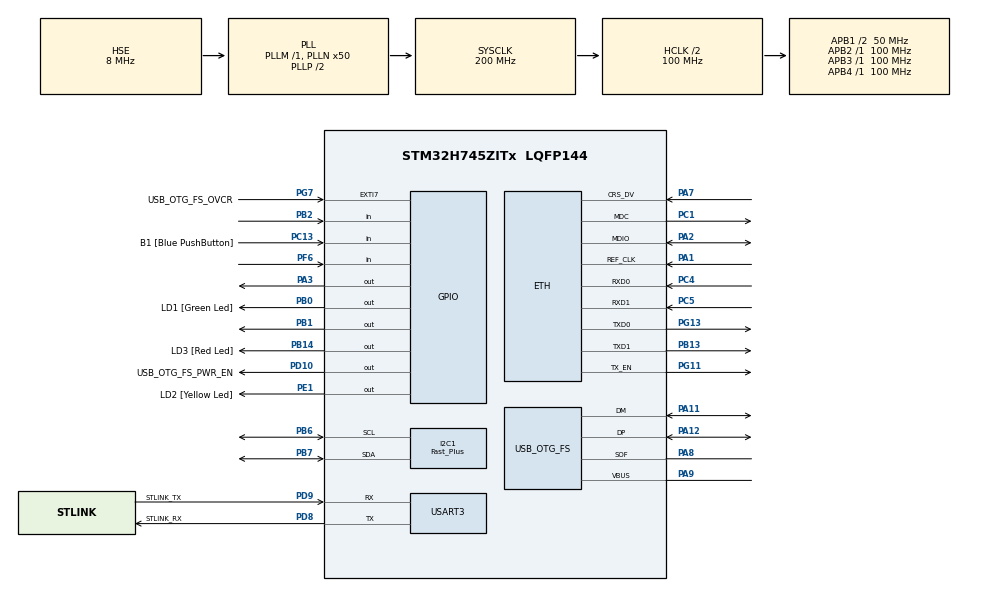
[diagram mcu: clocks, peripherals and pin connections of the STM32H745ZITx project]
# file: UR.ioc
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CortexM4.IPs=FATFS_M4\:I,FREERTOS_M4\:I,IWDG2\:I,RCC,WWDG2\:I,DMA,BDMA,MDMA,NVIC2\:I,USART3,ETH,DEBUG,USB_DEVICE_M4\:I,USB_HOST_M4\:I,PDM2PCM_M4\:I,PWR,RESMGR_UTILITY,SYS_M4\:I,CORTEX_M4\:I,OPENAMP_M4\:I,VREFBUF,GPIO
CortexM7.IPs=FATFS_M7\:I,FREERTOS_M7\:I,IWDG1\:I,RCC\:I,WWDG1\:I,DMA\:I,BDMA\:I,MDMA\:I,NVIC1\:I,SYS\:I,USART3\:I,USB_OTG_FS\:I,ETH\:I,CORTEX_M7\:I,DEBUG\:I,USB_DEVICE_M7\:I,USB_HOST_M7\:I,PDM2PCM_M7\:I,PWR\:I,RESMGR_UTILITY\:I,OPENAMP_M7\:I,VREFBUF\:I,GPIO\:I,I2C1\:I
ETH.MediaInterface=HAL_ETH_RMII_MODE
I2C1.I2C_Speed_Mode=I2C_Fast_Plus
I2C1.Timing=0x0020081F
Mcu.Family=STM32H7
Mcu.Name=STM32H745ZITx
Mcu.Package=LQFP144
NVIC1.I2C1_EV_IRQn=true\:0\:0\:false\:false\:true\:true\:true\:true
NVIC1.PriorityGroup=NVIC_PRIORITYGROUP_4
NVIC2.PriorityGroup=NVIC_PRIORITYGROUP_4
PA1.Mode=RMII
PA1.PinAttribute=CortexM7
PA1.Signal=ETH_REF_CLK
PA11.Mode=Device_Only
PA11.PinAttribute=CortexM7
PA11.Signal=USB_OTG_FS_DM
PA12.Mode=Device_Only
PA12.PinAttribute=CortexM7
PA12.Signal=USB_OTG_FS_DP
PA2.Mode=RMII
PA2.PinAttribute=CortexM7
PA2.Signal=ETH_MDIO
PA3.PinAttribute=Free
PA3.Signal=GPIO_Output
PA7.Mode=RMII
PA7.PinAttribute=CortexM7
PA7.Signal=ETH_CRS_DV
PA8.Mode=Activate_SOF_FS
PA8.PinAttribute=CortexM7
PA8.Signal=USB_OTG_FS_SOF
PA9.Mode=Activate_VBUS
PA9.PinAttribute=CortexM7
PA9.Signal=USB_OTG_FS_VBUS
PB0.GPIO_Label=LD1 [Green Led]
PB0.PinAttribute=Free
PB0.Signal=GPIO_Output
PB1.PinAttribute=Free
PB1.Signal=GPIO_Output
PB13.Mode=RMII
PB13.PinAttribute=CortexM7
PB13.Signal=ETH_TXD1
PB14.GPIO_Label=LD3 [Red Led]
PB14.PinAttribute=Free
PB14.Signal=GPIO_Output
PB2.PinAttribute=Free
PB2.Signal=GPIO_Input
PB6.Mode=I2C
PB6.PinAttribute=CortexM7
PB6.Signal=I2C1_SCL
PB7.Mode=I2C
PB7.PinAttribute=CortexM7
PB7.Signal=I2C1_SDA
PC1.Mode=RMII
PC1.PinAttribute=CortexM7
PC1.Signal=ETH_MDC
PC13.GPIO_Label=B1 [Blue PushButton]
PC13.PinAttribute=Free
PC13.Signal=GPIO_Input
PC14-OSC32_IN\ (OSC32_IN).Mode=LSE-External-Oscillator
PC14-OSC32_IN\ (OSC32_IN).PinAttribute=CortexM7
PC14-OSC32_IN\ (OSC32_IN).Signal=RCC_OSC32_IN
PC15-OSC32_OUT\ (OSC32_OUT).Mode=LSE-External-Oscillator
PC15-OSC32_OUT\ (OSC32_OUT).PinAttribute=CortexM7
PC15-OSC32_OUT\ (OSC32_OUT).Signal=RCC_OSC32_OUT
PC4.Mode=RMII
PC4.PinAttribute=CortexM7
PC4.Signal=ETH_RXD0
PC5.Mode=RMII
PC5.PinAttribute=CortexM7
PC5.Signal=ETH_RXD1
PD10.GPIO_Label=USB_OTG_FS_PWR_EN
PD10.PinAttribute=Free
PD10.Signal=GPIO_Output
PD8.GPIO_Label=STLINK_RX
PD8.Mode=Asynchronous
PD8.PinAttribute=CortexM7
PD8.Signal=USART3_TX
PD9.GPIO_Label=STLINK_TX
PD9.Mode=Asynchronous
PD9.PinAttribute=CortexM7
PD9.Signal=USART3_RX
PE1.GPIO_Label=LD2 [Yellow Led]
PE1.PinAttribute=Free
PE1.Signal=GPIO_Output
PF6.PinAttribute=Free
PF6.Signal=GPIO_Input
PG11.Mode=RMII
PG11.PinAttribute=CortexM7
PG11.Signal=ETH_TX_EN
PG13.Mode=RMII
PG13.PinAttribute=CortexM7
PG13.Signal=ETH_TXD0
PG7.GPIO_Label=USB_OTG_FS_OVCR
PG7.PinAttribute=Free
PG7.Signal=GPXTI7
PH0-OSC_IN\ (PH0).Mode=HSE-External-Clock-Source
PH0-OSC_IN\ (PH0).PinAttribute=CortexM7
PH0-OSC_IN\ (PH0).Signal=RCC_OSC_IN
PH1-OSC_OUT\ (PH1).PinAttribute=CortexM7
PH1-OSC_OUT\ (PH1).Signal=RCC_OSC_OUT
ProjectManager.HeapSize=M4-0x200,M7-0x200
ProjectManager.StackSize=M4-0x400,M7-0x400
ProjectManager.TargetToolchain=STM32CubeIDE
RCC.ADCFreq_Value=16125000
RCC.APB1Freq_Value=50000000
RCC.APB2Freq_Value=100000000
RCC.APB3Freq_Value=100000000
RCC.APB4Freq_Value=100000000
RCC.CortexFreq_Value=200000000
RCC.D2PPRE1=RCC_APB1_DIV2
RCC.DIVM1=1
RCC.DIVM3=1
RCC.DIVN1=50
RCC.DIVN3=18
RCC.DIVQ3=3
RCC.HCLKFreq_Value=100000000
RCC.HPRE=RCC_HCLK_DIV2
RCC.HSE_VALUE=8000000
RCC.PLL2FRACN=0
RCC.PLL3FRACN=6144
RCC.PLLFRACN=0
RCC.SYSCLKFreq_VALUE=200000000
RCC.SYSCLKSource=RCC_SYSCLKSOURCE_PLLCLK
RCC.SupplySource=PWR_DIRECT_SMPS_SUPPLY
RCC.USBCLockSelection=RCC_USBCLKSOURCE_PLL3
RCC.USBFreq_Value=50000000
USART3.VirtualMode-Asynchronous=VM_ASYNC
USB_OTG_FS.VirtualMode=Device_Only
VP_SYS_M4_VS_Systick.Mode=SysTick
board=NUCLEO-H745ZI-Q

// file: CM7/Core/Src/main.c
/* USER CODE BEGIN Header */
/**
  ******************************************************************************
  * @file           : main.c
  * @brief          : Main program body
  ******************************************************************************
  * @attention
  *
  * Copyright (c) 2023 STMicroelectronics.
  * All rights reserved.
  *
  * This software is licensed under terms that can be found in the LICENSE file
  * in the root directory of this software component.
  * If no LICENSE file comes with this software, it is provided AS-IS.
  *
  ******************************************************************************
  */
/* USER CODE END Header */
#include "main.h"
#include "string.h"

/* USER CODE BEGIN Includes */
#include <stdint.h>
#include <stdio.h>
/* USER CODE END Includes */

/* USER CODE BEGIN PD */

#ifndef HSEM_ID_0
#define HSEM_ID_0 (0U) /* HW semaphore 0*/
#endif

/* USER CODE END PD */

#if defined ( __ICCARM__ ) /*!< IAR Compiler */
#pragma location=0x30000000
ETH_DMADescTypeDef  DMARxDscrTab[ETH_RX_DESC_CNT]; /* Ethernet Rx DMA Descriptors */
#pragma location=0x30000200
ETH_DMADescTypeDef  DMATxDscrTab[ETH_TX_DESC_CNT]; /* Ethernet Tx DMA Descriptors */

#elif defined ( __CC_ARM )  /* MDK ARM Compiler */

__attribute__((at(0x30000000))) ETH_DMADescTypeDef  DMARxDscrTab[ETH_RX_DESC_CNT]; /* Ethernet Rx DMA Descriptors */
__attribute__((at(0x30000200))) ETH_DMADescTypeDef  DMATxDscrTab[ETH_TX_DESC_CNT]; /* Ethernet Tx DMA Descriptors */

#elif defined ( __GNUC__ ) /* GNU Compiler */
ETH_DMADescTypeDef DMARxDscrTab[ETH_RX_DESC_CNT] __attribute__((section(".RxDecripSection"))); /* Ethernet Rx DMA Descriptors */
ETH_DMADescTypeDef DMATxDscrTab[ETH_TX_DESC_CNT] __attribute__((section(".TxDecripSection")));   /* Ethernet Tx DMA Descriptors */

#endif

ETH_TxPacketConfig TxConfig;

ETH_HandleTypeDef heth;

I2C_HandleTypeDef hi2c1;

UART_HandleTypeDef huart3;

PCD_HandleTypeDef hpcd_USB_OTG_FS;

void SystemClock_Config(void);
static void MX_GPIO_Init(void);
static void MX_ETH_Init(void);
static void MX_USART3_UART_Init(void);
static void MX_USB_OTG_FS_PCD_Init(void);
static void MX_I2C1_Init(void);

/* USER CODE BEGIN 0 */
typedef struct {
    uint8_t preamble[7]; // Preamble bytes
    uint8_t sfd;
    uint8_t destMac[6];
    uint8_t srcMac[6];
    uint16_t etherType;
    uint8_t payload[2]; // Maximum payload size
    uint32_t crc;          // CRC (Cyclic Redundancy Check)
} EthernetFrame;

uint8_t dataToRecieve[sizeof(EthernetFrame)];

uint8_t bitPosition = 0;    // Bit position tracker
uint8_t bytePosition = 0;
GPIO_PinState rBit;
GPIO_PinState valid_frame = GPIO_PIN_RESET;
uint8_t first = 0;
uint8_t rflag = 0;
uint8_t lcd_row = 0;
uint8_t lcd_col = 0;

void HAL_GPIO_EXTI_Callback(uint16_t GPIO_Pin) {
    if (GPIO_Pin == GPIO_PIN_6 && valid_frame == GPIO_PIN_SET) { // Pin PF6 (change to the actual pin)
    	first++;
    	if(first > 3)
    	{
    		rflag = 1;
    	}
    	if(rflag){
        // Perform your desired action here upon the rising edge of the clock signal
        // For example, toggle or set/clear the state of another GPIO pin
    	rBit = HAL_GPIO_ReadPin(GPIOB, GPIO_PIN_2);
//    	lcd_put_cur(lcd_row, lcd_col);
//    	lcd_col++;
//    	if(lcd_col == 16){
//    		lcd_row = (lcd_row + 1)%2;
//    		if(lcd_row == 0)
//    			lcd_clear();
//    		lcd_col = 0;
//    	}
//    	if(rBit == GPIO_PIN_SET){
//        	lcd_send_string("1");
//    	}
//    	else
//    		lcd_send_string("0");
   	 dataToRecieve[bytePosition] |= rBit << (bitPosition);
    	 // Toggle the clock pin to generate a clock pulse
    	 // Move to the next bit position
    	 bitPosition++;
    	 if (bitPosition >= 8) {
    		 bitPosition = 0;  // Reset the bit position for the next transmission
    		 bytePosition++;
//    		 lcd_clear();
//    		 lcd_put_cur(0, 0);
//    		 char positionString[12]; // Adjust the size based on your needs
//    		 snprintf(positionString, sizeof(positionString), "byte #%u", bytePosition);
//    		 lcd_send_string(positionString);
//    		 lcd_put_cur(1, 0);
//    		 char byteString[8]; // Assuming the byte value can be represented in 3 characters (+ null terminator)
//    		    snprintf(byteString, sizeof(byteString) + 1, "%c%c%c%c%c%c%c%c",
//    		             (dataToRecieve[bytePosition-1] & 0x80) ? '1' : '0',
//    		             (dataToRecieve[bytePosition-1] & 0x40) ? '1' : '0',
//    		             (dataToRecieve[bytePosition-1] & 0x20) ? '1' : '0',
//    		             (dataToRecieve[bytePosition-1] & 0x10) ? '1' : '0',
//    		             (dataToRecieve[bytePosition-1] & 0x08) ? '1' : '0',
//    		             (dataToRecieve[bytePosition-1] & 0x04) ? '1' : '0',
//    		             (dataToRecieve[bytePosition-1] & 0x02) ? '1' : '0',
//    		             (dataToRecieve[bytePosition-1] & 0x01) ? '1' : '0');    		 lcd_send_string(byteString);

    	 }
    	 if(bytePosition == sizeof(EthernetFrame))
    	 {
    		    for(uint8_t count = 0; count < sizeof(EthernetFrame); count++)
    		    {
    	    		 lcd_clear();
    	    		 lcd_put_cur(0, 0);
    	    		 char positionString[9]; // Adjust the size based on your needs
    	    		 snprintf(positionString, sizeof(positionString), "byte #%u", count);
    	    		 lcd_send_string(positionString);
    	    		 lcd_put_cur(1, 0);
    	    		 char byteString[8]; // Assuming the byte value can be represented in 3 characters (+ null terminator)
    	    		    snprintf(byteString, sizeof(byteString) + 1, "%c%c%c%c%c%c%c%c",
    	    		             (dataToRecieve[count] & 0x80) ? '1' : '0',
    	    		             (dataToRecieve[count] & 0x40) ? '1' : '0',
    	    		             (dataToRecieve[count] & 0x20) ? '1' : '0',
    	    		             (dataToRecieve[count] & 0x10) ? '1' : '0',
    	    		             (dataToRecieve[count] & 0x08) ? '1' : '0',
    	    		             (dataToRecieve[count] & 0x04) ? '1' : '0',
    	    		             (dataToRecieve[count] & 0x02) ? '1' : '0',
    	    		             (dataToRecieve[count] & 0x01) ? '1' : '0');    		 lcd_send_string(byteString);

    		    }
    		 bytePosition = 0;
    		 memset(dataToRecieve, 0, sizeof(dataToRecieve));
    	 }
    	}

//    	 switch(bytePosition){
//    	 case 1 ... 56:
//		 preamble[bytePosition % 8] |= rBit << bitPosition;
//    	 break;
//    	 case 57:
//    		 sfd |= rBit << bitPosition;
//    		 break;
//    	 case 58 ... 64:
//		 	 destMac[bytePosition - 58] |= rBit << bitPosition;
//    	 	 break;
//    	 case 65 ... 71:
//		 	 srcMac[bytePosition - 65] |= rBit << bitPosition;
//    	 	 break;
//    	 case 72 ... 73:
//		 	 etherType |= rBit << bitPosition;
//    	 	 break;
//    	 case 74 ... 75:
//		 	 payload[bytePosition - 74] |= rBit << bitPosition;
//    	 	 break;
//    	 default:
//    		 break;
//    	 }

//    	 if (bytePosition >= sizeof(uint8_t) * 7) {
//    	             bitPosition = 0;  // Reset the bit position for the next transmission
//    	             bytePosition++;
//    	         }
//    	 if(bytePosition >= sizeof(EthernetFrame) - 1500){
//    		 bitPosition = 0;  // Reset the bit position for the next transmission
//    		 bytePosition = 0;
//    	 }
    }
    if (GPIO_Pin == GPIO_PIN_3) {
    	valid_frame = GPIO_PIN_SET;
    }
}
/* USER CODE END 0 */

int main(void)
{
  /* USER CODE BEGIN 1 */
	memset(dataToRecieve, 0, sizeof(dataToRecieve));
  /* USER CODE END 1 */
/* USER CODE BEGIN Boot_Mode_Sequence_0 */
  //int32_t timeout;
/* USER CODE END Boot_Mode_Sequence_0 */

/* USER CODE BEGIN Boot_Mode_Sequence_1 */
  /* Wait until CPU2 boots and enters in stop mode or timeout*/
//  timeout = 0xFFFF;
//  while((__HAL_RCC_GET_FLAG(RCC_FLAG_D2CKRDY) != RESET) && (timeout-- > 0));
//  if ( timeout < 0 )
//  {
//  Error_Handler();
//  }
/* USER CODE END Boot_Mode_Sequence_1 */
  /* MCU Configuration--------------------------------------------------------*/

  /* Reset of all peripherals, Initializes the Flash interface and the Systick. */
  HAL_Init();

  /* USER CODE BEGIN Init */
  __HAL_RCC_GPIOF_CLK_ENABLE(); // Enable clock for GPIOF
  __HAL_RCC_GPIOB_CLK_ENABLE(); // Enable clock for GPIOB
  __HAL_RCC_GPIOA_CLK_ENABLE(); // Enable clock for GPIOF

     GPIO_InitTypeDef GPIO_InitStruct;
     GPIO_InitStruct.Pin = GPIO_PIN_6; // Pin PF6 (change to the actual pin)
     GPIO_InitStruct.Mode = GPIO_MODE_IT_RISING; // Interrupt on rising edge
     GPIO_InitStruct.Pull = GPIO_NOPULL; // No pull-up/pull-down
     HAL_GPIO_Init(GPIOF, &GPIO_InitStruct);

  	GPIO_InitTypeDef GPIOB_init = {};
  	GPIOB_init.Pin = GPIO_PIN_2;
  	GPIOB_init.Mode = GPIO_MODE_INPUT;
  	HAL_GPIO_Init(GPIOB, &GPIOB_init);

 	GPIO_InitTypeDef GPIOB_init1 = {};
 	GPIOB_init1.Pin = GPIO_PIN_0;
 	GPIOB_init1.Mode = GPIO_MODE_OUTPUT_PP;
 	HAL_GPIO_Init(GPIOB, &GPIOB_init1);

 	  GPIO_InitTypeDef GPIOA_InitStruct;
 	 GPIOA_InitStruct.Pin = GPIO_PIN_3; // Pin PA3 (change to the actual pin)
 	 GPIOA_InitStruct.Mode = GPIO_MODE_IT_RISING; // Interrupt on rising edge
 	 GPIOA_InitStruct.Pull = GPIO_NOPULL; // No pull-up/pull-down
 	  HAL_GPIO_Init(GPIOA, &GPIOA_InitStruct);

// 	GPIO_InitTypeDef GPIOB_init = {};
// 	GPIOB_init.Pin = GPIO_PIN_2;
// 	GPIOB_init.Mode = GPIO_MODE_OUTPUT_PP;
// 	HAL_GPIO_Init(GPIOB, &GPIOB_init);

     // Enable the external interrupt
     HAL_NVIC_SetPriority(EXTI9_5_IRQn, 0, 0); // EXTI9_5_IRQn is for PF6 (change as needed)
     HAL_NVIC_EnableIRQ(EXTI9_5_IRQn);

     HAL_NVIC_SetPriority(EXTI3_IRQn, 0, 0);
     HAL_NVIC_EnableIRQ(EXTI3_IRQn);

  /* USER CODE END Init */

  /* Configure the system clock */
  SystemClock_Config();
/* USER CODE BEGIN Boot_Mode_Sequence_2 */
/* When system initialization is finished, Cortex-M7 will release Cortex-M4 by means of
HSEM notification */
/*HW semaphore Clock enable*/
//__HAL_RCC_HSEM_CLK_ENABLE();
///*Take HSEM */
//HAL_HSEM_FastTake(HSEM_ID_0);
///*Release HSEM in order to notify the CPU2(CM4)*/
//HAL_HSEM_Release(HSEM_ID_0,0);
///* wait until CPU2 wakes up from stop mode */
//timeout = 0xFFFF;
//while((__HAL_RCC_GET_FLAG(RCC_FLAG_D2CKRDY) == RESET) && (timeout-- > 0));
//if ( timeout < 0 )
//{
//Error_Handler();
//}
/* USER CODE END Boot_Mode_Sequence_2 */

  /* Initialize all configured peripherals */
  MX_GPIO_Init();
  MX_ETH_Init();
  MX_USART3_UART_Init();
  MX_USB_OTG_FS_PCD_Init();
  MX_I2C1_Init();
  /* USER CODE BEGIN 2 */
  lcd_init();
  lcd_clear();

//  lcd_put_cur(1, 0);

//  lcd_clear();
  /* USER CODE END 2 */

  /* Infinite loop */
  while (1)
  {

  }
}

void SystemClock_Config(void)
{
  RCC_OscInitTypeDef RCC_OscInitStruct = {0};
  RCC_ClkInitTypeDef RCC_ClkInitStruct = {0};

  /** Supply configuration update enable
  */
  HAL_PWREx_ConfigSupply(PWR_DIRECT_SMPS_SUPPLY);

  /** Configure the main internal regulator output voltage
  */
  __HAL_PWR_VOLTAGESCALING_CONFIG(PWR_REGULATOR_VOLTAGE_SCALE3);

  while(!__HAL_PWR_GET_FLAG(PWR_FLAG_VOSRDY)) {}

  /** Initializes the RCC Oscillators according to the specified parameters
  * in the RCC_OscInitTypeDef structure.
  */
  RCC_OscInitStruct.OscillatorType = RCC_OSCILLATORTYPE_HSE;
  RCC_OscInitStruct.HSEState = RCC_HSE_BYPASS;
  RCC_OscInitStruct.PLL.PLLState = RCC_PLL_ON;
  RCC_OscInitStruct.PLL.PLLSource = RCC_PLLSOURCE_HSE;
  RCC_OscInitStruct.PLL.PLLM = 1;
  RCC_OscInitStruct.PLL.PLLN = 50;
  RCC_OscInitStruct.PLL.PLLP = 2;
  RCC_OscInitStruct.PLL.PLLQ = 2;
  RCC_OscInitStruct.PLL.PLLR = 2;
  RCC_OscInitStruct.PLL.PLLRGE = RCC_PLL1VCIRANGE_3;
  RCC_OscInitStruct.PLL.PLLVCOSEL = RCC_PLL1VCOWIDE;
  RCC_OscInitStruct.PLL.PLLFRACN = 0;
  if (HAL_RCC_OscConfig(&RCC_OscInitStruct) != HAL_OK)
  {
    Error_Handler();
  }

  /** Initializes the CPU, AHB and APB buses clocks
  */
  RCC_ClkInitStruct.ClockType = RCC_CLOCKTYPE_HCLK|RCC_CLOCKTYPE_SYSCLK
                              |RCC_CLOCKTYPE_PCLK1|RCC_CLOCKTYPE_PCLK2
                              |RCC_CLOCKTYPE_D3PCLK1|RCC_CLOCKTYPE_D1PCLK1;
  RCC_ClkInitStruct.SYSCLKSource = RCC_SYSCLKSOURCE_PLLCLK;
  RCC_ClkInitStruct.SYSCLKDivider = RCC_SYSCLK_DIV1;
  RCC_ClkInitStruct.AHBCLKDivider = RCC_HCLK_DIV2;
  RCC_ClkInitStruct.APB3CLKDivider = RCC_APB3_DIV1;
  RCC_ClkInitStruct.APB1CLKDivider = RCC_APB1_DIV2;
  RCC_ClkInitStruct.APB2CLKDivider = RCC_APB2_DIV1;
  RCC_ClkInitStruct.APB4CLKDivider = RCC_APB4_DIV1;

  if (HAL_RCC_ClockConfig(&RCC_ClkInitStruct, FLASH_LATENCY_2) != HAL_OK)
  {
    Error_Handler();
  }
}

static void MX_ETH_Init(void)
{

   static uint8_t MACAddr[6];

  heth.Instance = ETH;
  MACAddr[0] = 0x00;
  MACAddr[1] = 0x80;
  MACAddr[2] = 0xE1;
  MACAddr[3] = 0x00;
  MACAddr[4] = 0x00;
  MACAddr[5] = 0x00;
  heth.Init.MACAddr = &MACAddr[0];
  heth.Init.MediaInterface = HAL_ETH_RMII_MODE;
  heth.Init.TxDesc = DMATxDscrTab;
  heth.Init.RxDesc = DMARxDscrTab;
  heth.Init.RxBuffLen = 1524;

  if (HAL_ETH_Init(&heth) != HAL_OK)
  {
    Error_Handler();
  }

  memset(&TxConfig, 0 , sizeof(ETH_TxPacketConfig));
  TxConfig.Attributes = ETH_TX_PACKETS_FEATURES_CSUM | ETH_TX_PACKETS_FEATURES_CRCPAD;
  TxConfig.ChecksumCtrl = ETH_CHECKSUM_IPHDR_PAYLOAD_INSERT_PHDR_CALC;
  TxConfig.CRCPadCtrl = ETH_CRC_PAD_INSERT;

}

static void MX_I2C1_Init(void)
{

  hi2c1.Instance = I2C1;
  hi2c1.Init.Timing = 0x0020081F;
  hi2c1.Init.OwnAddress1 = 0;
  hi2c1.Init.AddressingMode = I2C_ADDRESSINGMODE_7BIT;
  hi2c1.Init.DualAddressMode = I2C_DUALADDRESS_DISABLE;
  hi2c1.Init.OwnAddress2 = 0;
  hi2c1.Init.OwnAddress2Masks = I2C_OA2_NOMASK;
  hi2c1.Init.GeneralCallMode = I2C_GENERALCALL_DISABLE;
  hi2c1.Init.NoStretchMode = I2C_NOSTRETCH_DISABLE;
  if (HAL_I2C_Init(&hi2c1) != HAL_OK)
  {
    Error_Handler();
  }

  /** Configure Analogue filter
  */
  if (HAL_I2CEx_ConfigAnalogFilter(&hi2c1, I2C_ANALOGFILTER_ENABLE) != HAL_OK)
  {
    Error_Handler();
  }

  /** Configure Digital filter
  */
  if (HAL_I2CEx_ConfigDigitalFilter(&hi2c1, 0) != HAL_OK)
  {
    Error_Handler();
  }

  /** I2C Enable Fast Mode Plus
  */
  HAL_I2CEx_EnableFastModePlus(I2C_FASTMODEPLUS_I2C1);

}

static void MX_USART3_UART_Init(void)
{

  huart3.Instance = USART3;
  huart3.Init.BaudRate = 115200;
  huart3.Init.WordLength = UART_WORDLENGTH_8B;
  huart3.Init.StopBits = UART_STOPBITS_1;
  huart3.Init.Parity = UART_PARITY_NONE;
  huart3.Init.Mode = UART_MODE_TX_RX;
  huart3.Init.HwFlowCtl = UART_HWCONTROL_NONE;
  huart3.Init.OverSampling = UART_OVERSAMPLING_16;
  huart3.Init.OneBitSampling = UART_ONE_BIT_SAMPLE_DISABLE;
  huart3.Init.ClockPrescaler = UART_PRESCALER_DIV1;
  huart3.AdvancedInit.AdvFeatureInit = UART_ADVFEATURE_NO_INIT;
  if (HAL_UART_Init(&huart3) != HAL_OK)
  {
    Error_Handler();
  }
  if (HAL_UARTEx_SetTxFifoThreshold(&huart3, UART_TXFIFO_THRESHOLD_1_8) != HAL_OK)
  {
    Error_Handler();
  }
  if (HAL_UARTEx_SetRxFifoThreshold(&huart3, UART_RXFIFO_THRESHOLD_1_8) != HAL_OK)
  {
    Error_Handler();
  }
  if (HAL_UARTEx_DisableFifoMode(&huart3) != HAL_OK)
  {
    Error_Handler();
  }

}

static void MX_USB_OTG_FS_PCD_Init(void)
{

  hpcd_USB_OTG_FS.Instance = USB_OTG_FS;
  hpcd_USB_OTG_FS.Init.dev_endpoints = 9;
  hpcd_USB_OTG_FS.Init.speed = PCD_SPEED_FULL;
  hpcd_USB_OTG_FS.Init.dma_enable = DISABLE;
  hpcd_USB_OTG_FS.Init.phy_itface = PCD_PHY_EMBEDDED;
  hpcd_USB_OTG_FS.Init.Sof_enable = DISABLE;
  hpcd_USB_OTG_FS.Init.low_power_enable = DISABLE;
  hpcd_USB_OTG_FS.Init.lpm_enable = DISABLE;
  hpcd_USB_OTG_FS.Init.battery_charging_enable = ENABLE;
  hpcd_USB_OTG_FS.Init.vbus_sensing_enable = ENABLE;
  hpcd_USB_OTG_FS.Init.use_dedicated_ep1 = DISABLE;
  if (HAL_PCD_Init(&hpcd_USB_OTG_FS) != HAL_OK)
  {
    Error_Handler();
  }

}

static void MX_GPIO_Init(void)
{

  /* GPIO Ports Clock Enable */
  __HAL_RCC_GPIOC_CLK_ENABLE();
  __HAL_RCC_GPIOH_CLK_ENABLE();
  __HAL_RCC_GPIOA_CLK_ENABLE();
  __HAL_RCC_GPIOB_CLK_ENABLE();
  __HAL_RCC_GPIOD_CLK_ENABLE();
  __HAL_RCC_GPIOG_CLK_ENABLE();

}

/* USER CODE BEGIN 4 */
void EXTI9_5_IRQHandler(void) {
    HAL_GPIO_EXTI_IRQHandler(GPIO_PIN_6); // Call the HAL handler
}

void EXTI3_IRQHandler(void) {
    HAL_GPIO_EXTI_IRQHandler(GPIO_PIN_3); // Call the HAL handler
}

void GPIO_Config(void){
	__HAL_RCC_GPIOB_CLK_ENABLE();
	__HAL_RCC_GPIOC_CLK_ENABLE();
	//__HAL_RCC_GPIOC_CLK_ENABLE();

	GPIO_InitTypeDef GPIOB_init = {};
	GPIOB_init.Pin = GPIO_PIN_2;
	GPIOB_init.Mode = GPIO_MODE_INPUT;
	HAL_GPIO_Init(GPIOB, &GPIOB_init);

//	GPIO_InitTypeDef GPIOC_init = {};
//	GPIOC_init.Pin = GPIO_PIN_13;
//	GPIOC_init.Mode = GPIO_MODE_IT_RISING_FALLING;
//	HAL_GPIO_Init(GPIOC, &GPIOC_init);

//	GPIO_InitTypeDef GPIOB_init1 = {};
//	GPIOB_init1.Pin = GPIO_PIN_0;
//	GPIOB_init1.Mode = GPIO_MODE_OUTPUT_PP;
//	HAL_GPIO_Init(GPIOB, &GPIOB_init1);

}
/* USER CODE END 4 */

void Error_Handler(void)
{
  __disable_irq();
  while (1)
  {
  }
}
